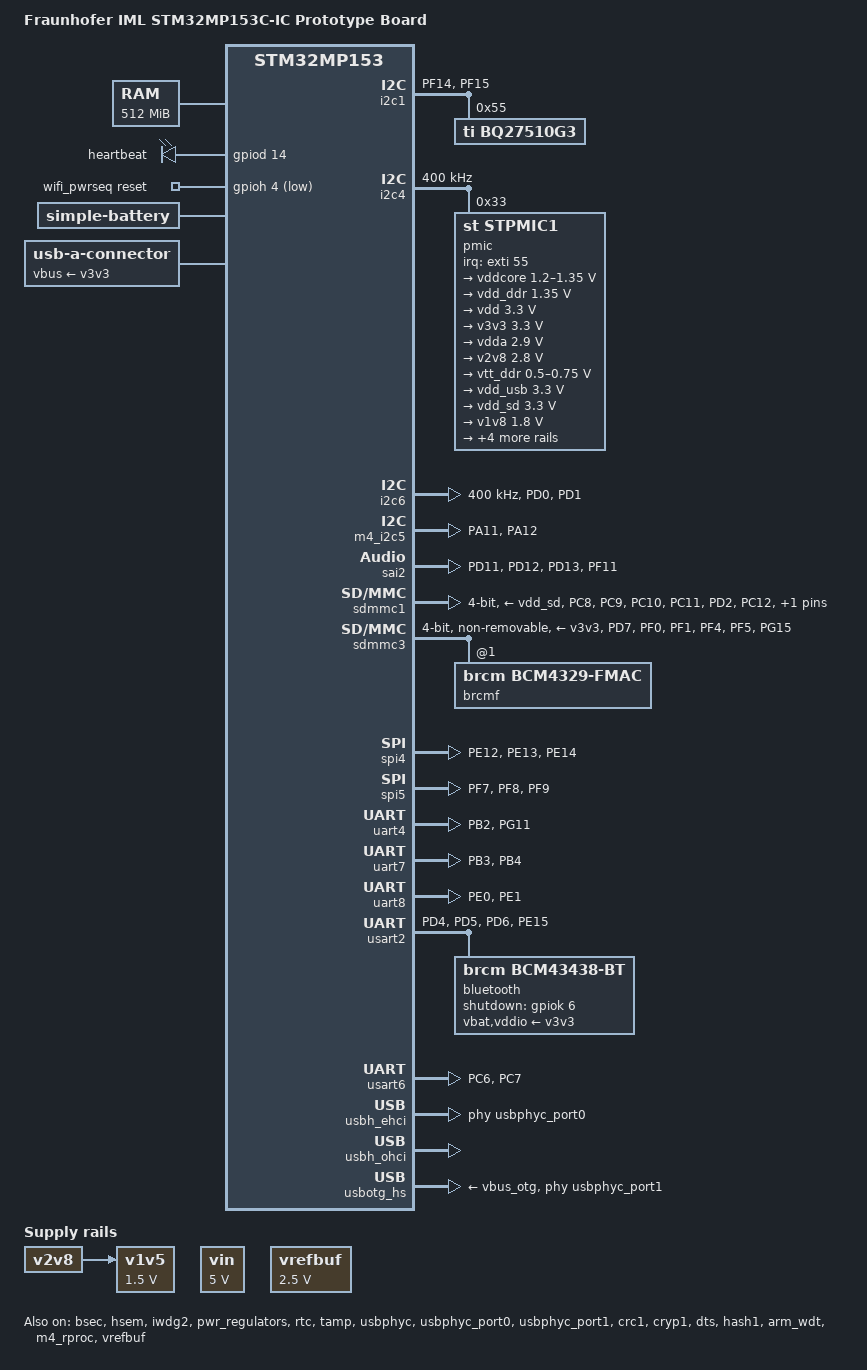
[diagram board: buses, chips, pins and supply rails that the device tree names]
/* SPDX-License-Identifier: (GPL-2.0+ OR BSD-3-Clause) */
/*
 * Copyright (C) STMicroelectronics 2023 - All Rights Reserved
 * Author: STM32CubeMX code generation for STMicroelectronics.
 */

/* For more information on Device Tree configuration, please refer to
 * https://wiki.st.com/stm32mpu/wiki/Category:Device_tree_configuration
 */

/dts-v1/;
#include <dt-bindings/pinctrl/stm32-pinfunc.h>

#include "stm32mp153.dtsi"
#include "stm32mp15xc.dtsi"
#include "stm32mp15xxaa-pinctrl.dtsi"
#include "stm32mp15-m4-srm.dtsi"

/* USER CODE BEGIN includes */
#include "stm32mp153c-ic-scmi.dtsi"
#include "stm32mp15-pinctrl.dtsi"
#include "stm32mp15-m4-srm-pinctrl.dtsi"
#include <dt-bindings/gpio/gpio.h>
#include <dt-bindings/input/input.h>
#include <dt-bindings/mfd/st,stpmic1.h>
#include <dt-bindings/rtc/rtc-stm32.h>
/* USER CODE END includes */


/ {
	model = "Fraunhofer IML STM32MP153C-IC Prototype Board";
	compatible = "st,stm32mp153c-ic", "st,stm32mp153";

	memory@c0000000 {
		device_type = "memory";
		reg = <0xc0000000 0x20000000>;

		/* USER CODE BEGIN memory */
		/* USER CODE END memory */
	};

	reserved-memory {
		#address-cells = <1>;
		#size-cells = <1>;
		ranges;

		/* USER CODE BEGIN reserved-memory */
		mcuram2: mcuram2@10000000 {
			compatible = "shared-dma-pool";
			reg = <0x10000000 0x40000>;
			no-map;
		};

		vdev0vring0: vdev0vring0@10040000 {
			compatible = "shared-dma-pool";
			reg = <0x10040000 0x1000>;
			no-map;
		};

		vdev0vring1: vdev0vring1@10041000 {
			compatible = "shared-dma-pool";
			reg = <0x10041000 0x1000>;
			no-map;
		};

		vdev0buffer: vdev0buffer@10042000 {
			compatible = "shared-dma-pool";
			reg = <0x10042000 0x4000>;
			no-map;
		};

		mcu_rsc_table: mcu_rsc_table@10048000 {
			compatible = "shared-dma-pool";
			reg = <0x10048000 0x8000>;
			no-map;
		};

		mcuram: mcuram@30000000 {
			compatible = "shared-dma-pool";
			reg = <0x30000000 0x40000>;
			no-map;
		};

		retram: retram@38000000 {
			compatible = "shared-dma-pool";
			reg = <0x38000000 0x10000>;
			no-map;
		};

		optee@fe000000 {
			reg = <0xfe000000 0x2000000>;
			no-map;
		};
		/* USER CODE END reserved-memory */
	};

	/* USER CODE BEGIN root */
	chosen {
		stdout-path = "serial0:115200n8";
	};
	
	aliases {
		serial0 = &uart4;
		serial1 = &usart6;
		serial7 = &uart7;
	};

	led {
		compatible = "gpio-leds";
		green {
			label = "heartbeat";
			gpios = <&gpiod 14 GPIO_ACTIVE_HIGH>;
			linux,default-trigger = "heartbeat";
			default-state = "off";
		};
	};

	vin: vin {
		compatible = "regulator-fixed";
		regulator-name = "vin";
		regulator-min-microvolt = <5000000>;
		regulator-max-microvolt = <5000000>;
		regulator-always-on;
	};

	wifi_pwrseq: wifi-pwrseq {
		compatible = "mmc-pwrseq-simple";
		reset-gpios = <&gpioh 4 GPIO_ACTIVE_LOW>;
	};

	usb_phy_tuning: usb-phy-tuning {
		st,hs-dc-level = <2>;
		st,fs-rftime-tuning;
		st,hs-rftime-reduction;
		st,hs-current-trim = <15>;
		st,hs-impedance-trim = <1>;
		st,squelch-level = <3>;
		st,hs-rx-offset = <2>;
		st,no-lsfs-sc;
	};

	v1v5: fixedregulator@0 {
		reg = <0>;
		compatible = "regulator-fixed";
		regulator-name = "v1v5";
		regulator-min-microvolt = <1500000>;
		regulator-max-microvolt = <1500000>;
		vin-supply = <&v2v8>;
	};

	bat: battery {
		compatible = "simple-battery";
		voltage-min-design-microvolt = <3200000>;
		energy-full-design-microwatt-hours = <48600000>;
		charge-full-design-microamp-hours = <12800000>;
	};
	/* USER CODE END root */

	clocks {

		/* USER CODE BEGIN clocks */
		clk_lsi: clk-lsi {
			clock-frequency = <32000>;
		};

		clk_hsi: clk-hsi {
			clock-frequency = <64000000>;
		};

		clk_csi: clk-csi {
			clock-frequency = <4000000>;
		};

		clk_lse: clk-lse {
			clock-frequency = <32768>;
			st,css;
		};

		clk_hse: clk-hse {
			clock-frequency = <24000000>;
			st,css;
		};
		/* USER CODE END clocks */
	};
};

&pinctrl {

	i2c1_pins_mx: i2c1_mx-0 {
		pins {
			pinmux = <STM32_PINMUX('F', 14, AF5)>, /* I2C1_SCL */
					 <STM32_PINMUX('F', 15, AF5)>; /* I2C1_SDA */
			bias-disable;
			drive-open-drain;
			slew-rate = <0>;
		};
	};

	i2c1_sleep_pins_mx: i2c1_sleep_mx-0 {
		pins {
			pinmux = <STM32_PINMUX('F', 14, ANALOG)>, /* I2C1_SCL */
					 <STM32_PINMUX('F', 15, ANALOG)>; /* I2C1_SDA */
		};
	};

	i2c6_pins_mx: i2c6_mx-0 {
		pins {
			pinmux = <STM32_PINMUX('D', 0, AF2)>, /* I2C6_SDA */
					 <STM32_PINMUX('D', 1, AF2)>; /* I2C6_SCL */
			bias-disable;
			drive-open-drain;
			slew-rate = <0>;
		};
	};

	i2c6_sleep_pins_mx: i2c6_sleep_mx-0 {
		pins {
			pinmux = <STM32_PINMUX('D', 0, ANALOG)>, /* I2C6_SDA */
					 <STM32_PINMUX('D', 1, ANALOG)>; /* I2C6_SCL */
		};
	};

	m4_i2c5_pins_mx: m4_i2c5_mx-0 {
		pins {
			pinmux = <STM32_PINMUX('A', 11, RSVD)>, /* I2C5_SCL */
					 <STM32_PINMUX('A', 12, RSVD)>; /* I2C5_SDA */
		};
	};

	rtc_pins_mx: rtc_mx-0 {
		pins {
			pinmux = <STM32_PINMUX('I', 8, ANALOG)>; /* RTC_LSCO */
		};
	};

	rtc_sleep_pins_mx: rtc_sleep_mx-0 {
		pins {
			pinmux = <STM32_PINMUX('I', 8, ANALOG)>; /* RTC_LSCO */
		};
	};

	sai2a_pins_mx: sai2a_mx-0 {
		pins {
			pinmux = <STM32_PINMUX('D', 11, AF10)>, /* SAI2_SD_A */
					 <STM32_PINMUX('D', 12, AF10)>, /* SAI2_FS_A */
					 <STM32_PINMUX('D', 13, AF10)>; /* SAI2_SCK_A */
			bias-disable;
			drive-push-pull;
			slew-rate = <0>;
		};
	};

	sai2a_sleep_pins_mx: sai2a_sleep_mx-0 {
		pins {
			pinmux = <STM32_PINMUX('D', 11, ANALOG)>, /* SAI2_SD_A */
					 <STM32_PINMUX('D', 12, ANALOG)>, /* SAI2_FS_A */
					 <STM32_PINMUX('D', 13, ANALOG)>; /* SAI2_SCK_A */
		};
	};

	sai2b_pins_mx: sai2b_mx-0 {
		pins {
			pinmux = <STM32_PINMUX('F', 11, AF10)>; /* SAI2_SD_B */
			bias-disable;
			drive-push-pull;
			slew-rate = <0>;
		};
	};

	sai2b_sleep_pins_mx: sai2b_sleep_mx-0 {
		pins {
			pinmux = <STM32_PINMUX('F', 11, ANALOG)>; /* SAI2_SD_B */
		};
	};

	sdmmc1_pins_mx: sdmmc1_mx-0 {
		pins1 {
			pinmux = <STM32_PINMUX('C', 8, AF12)>, /* SDMMC1_D0 */
					 <STM32_PINMUX('C', 9, AF12)>, /* SDMMC1_D1 */
					 <STM32_PINMUX('C', 10, AF12)>, /* SDMMC1_D2 */
					 <STM32_PINMUX('C', 11, AF12)>, /* SDMMC1_D3 */
					 <STM32_PINMUX('D', 2, AF12)>; /* SDMMC1_CMD */
			bias-disable;
			drive-push-pull;
			slew-rate = <1>;
		};
		pins2 {
			pinmux = <STM32_PINMUX('C', 12, AF12)>; /* SDMMC1_CK */
			bias-disable;
			drive-push-pull;
			slew-rate = <3>;
		};
	};

	sdmmc1_opendrain_pins_mx: sdmmc1_opendrain_mx-0 {
		pins1 {
			pinmux = <STM32_PINMUX('C', 8, AF12)>, /* SDMMC1_D0 */
					 <STM32_PINMUX('C', 9, AF12)>, /* SDMMC1_D1 */
					 <STM32_PINMUX('C', 10, AF12)>, /* SDMMC1_D2 */
					 <STM32_PINMUX('C', 11, AF12)>; /* SDMMC1_D3 */
			bias-disable;
			drive-push-pull;
			slew-rate = <1>;
		};
		pins2 {
			pinmux = <STM32_PINMUX('C', 12, AF12)>; /* SDMMC1_CK */
			bias-disable;
			drive-push-pull;
			slew-rate = <3>;
		};
		pins3 {
			pinmux = <STM32_PINMUX('D', 2, AF12)>; /* SDMMC1_CMD */
			bias-disable;
			drive-open-drain;
			slew-rate = <1>;
		};
	};

	sdmmc1_sleep_pins_mx: sdmmc1_sleep_mx-0 {
		pins {
			pinmux = <STM32_PINMUX('C', 8, ANALOG)>, /* SDMMC1_D0 */
					 <STM32_PINMUX('C', 9, ANALOG)>, /* SDMMC1_D1 */
					 <STM32_PINMUX('C', 10, ANALOG)>, /* SDMMC1_D2 */
					 <STM32_PINMUX('C', 11, ANALOG)>, /* SDMMC1_D3 */
					 <STM32_PINMUX('C', 12, ANALOG)>, /* SDMMC1_CK */
					 <STM32_PINMUX('D', 2, ANALOG)>; /* SDMMC1_CMD */
		};
	};

	sdmmc3_pins_mx: sdmmc3_mx-0 {
		pins1 {
			pinmux = <STM32_PINMUX('D', 7, AF10)>, /* SDMMC3_D3 */
					 <STM32_PINMUX('F', 0, AF9)>, /* SDMMC3_D0 */
					 <STM32_PINMUX('F', 1, AF9)>, /* SDMMC3_CMD */
					 <STM32_PINMUX('F', 4, AF9)>, /* SDMMC3_D1 */
					 <STM32_PINMUX('F', 5, AF9)>; /* SDMMC3_D2 */
			bias-pull-up;
			drive-push-pull; // changed manually
			slew-rate = <1>;
		};
		pins2 {
			pinmux = <STM32_PINMUX('G', 15, AF10)>; /* SDMMC3_CK */
			bias-pull-up;
			drive-push-pull; // changed manually
			slew-rate = <2>; // changed manually
		};
	};

	sdmmc3_opendrain_pins_mx: sdmmc3_opendrain_mx-0 {
		pins1 {
			pinmux = <STM32_PINMUX('D', 7, AF10)>, /* SDMMC3_D3 */
					 <STM32_PINMUX('F', 0, AF9)>, /* SDMMC3_D0 */
					 <STM32_PINMUX('F', 4, AF9)>, /* SDMMC3_D1 */
					 <STM32_PINMUX('F', 5, AF9)>; /* SDMMC3_D2 */
			bias-pull-up; // changed manually
			drive-push-pull;
			slew-rate = <1>;
		};
		pins2 {
			pinmux = <STM32_PINMUX('F', 1, AF9)>; /* SDMMC3_CMD */
			bias-pull-up; // changed manually
			drive-open-drain;
			slew-rate = <1>;
		};
		pins3 {
			pinmux = <STM32_PINMUX('G', 15, AF10)>; /* SDMMC3_CK */
			bias-pull-up; // changed manually
			drive-push-pull;
			slew-rate = <2>; // changed manually
		};
	};

	sdmmc3_sleep_pins_mx: sdmmc3_sleep_mx-0 {
		pins {
			pinmux = <STM32_PINMUX('D', 7, ANALOG)>, /* SDMMC3_D3 */
					 <STM32_PINMUX('F', 0, ANALOG)>, /* SDMMC3_D0 */
					 <STM32_PINMUX('F', 1, ANALOG)>, /* SDMMC3_CMD */
					 <STM32_PINMUX('F', 4, ANALOG)>, /* SDMMC3_D1 */
					 <STM32_PINMUX('F', 5, ANALOG)>, /* SDMMC3_D2 */
					 <STM32_PINMUX('G', 15, ANALOG)>; /* SDMMC3_CK */
		};
	};

	spi4_pins_mx: spi4_mx-0 {
		pins {
			pinmux = <STM32_PINMUX('E', 12, AF5)>, /* SPI4_SCK */
					 <STM32_PINMUX('E', 13, AF5)>, /* SPI4_MISO */
					 <STM32_PINMUX('E', 14, AF5)>; /* SPI4_MOSI */
			bias-disable;
			drive-push-pull;
			slew-rate = <1>;
		};
	};

	spi4_sleep_pins_mx: spi4_sleep_mx-0 {
		pins {
			pinmux = <STM32_PINMUX('E', 12, ANALOG)>, /* SPI4_SCK */
					 <STM32_PINMUX('E', 13, ANALOG)>, /* SPI4_MISO */
					 <STM32_PINMUX('E', 14, ANALOG)>; /* SPI4_MOSI */
		};
	};

	spi5_pins_mx: spi5_mx-0 {
		pins {
			pinmux = <STM32_PINMUX('F', 7, AF5)>, /* SPI5_SCK */
					 <STM32_PINMUX('F', 8, AF5)>, /* SPI5_MISO */
					 <STM32_PINMUX('F', 9, AF5)>; /* SPI5_MOSI */
			bias-disable;
			drive-push-pull;
			slew-rate = <1>;
		};
	};

	spi5_sleep_pins_mx: spi5_sleep_mx-0 {
		pins {
			pinmux = <STM32_PINMUX('F', 7, ANALOG)>, /* SPI5_SCK */
					 <STM32_PINMUX('F', 8, ANALOG)>, /* SPI5_MISO */
					 <STM32_PINMUX('F', 9, ANALOG)>; /* SPI5_MOSI */
		};
	};

	uart4_pins_mx: uart4_mx-0 {
		pins1 {
			pinmux = <STM32_PINMUX('B', 2, AF8)>; /* UART4_RX */
			bias-disable;
		};
		pins2 {
			pinmux = <STM32_PINMUX('G', 11, AF6)>; /* UART4_TX */
			bias-disable;
			drive-push-pull;
			slew-rate = <0>;
		};
	};

	uart4_sleep_pins_mx: uart4_sleep_mx-0 {
		pins {
			pinmux = <STM32_PINMUX('B', 2, ANALOG)>, /* UART4_RX */
					 <STM32_PINMUX('G', 11, ANALOG)>; /* UART4_TX */
		};
	};

	uart7_pins_mx: uart7_mx-0 {
		pins1 {
			pinmux = <STM32_PINMUX('B', 3, AF13)>; /* UART7_RX */
			bias-disable;
		};
		pins2 {
			pinmux = <STM32_PINMUX('B', 4, AF13)>; /* UART7_TX */
			bias-disable;
			drive-push-pull;
			slew-rate = <0>;
		};
	};

	uart7_sleep_pins_mx: uart7_sleep_mx-0 {
		pins {
			pinmux = <STM32_PINMUX('B', 3, ANALOG)>, /* UART7_RX */
					 <STM32_PINMUX('B', 4, ANALOG)>; /* UART7_TX */
		};
	};

	uart8_pins_mx: uart8_mx-0 {
		pins1 {
			pinmux = <STM32_PINMUX('E', 0, AF8)>; /* UART8_RX */
			bias-disable;
		};
		pins2 {
			pinmux = <STM32_PINMUX('E', 1, AF8)>; /* UART8_TX */
			bias-disable;
			drive-push-pull;
			slew-rate = <0>;
		};
	};

	uart8_sleep_pins_mx: uart8_sleep_mx-0 {
		pins {
			pinmux = <STM32_PINMUX('E', 0, ANALOG)>, /* UART8_RX */
					 <STM32_PINMUX('E', 1, ANALOG)>; /* UART8_TX */
		};
	};

	usart2_pins_mx: usart2_mx-0 {
		pins1 {
			pinmux = <STM32_PINMUX('D', 4, AF7)>, /* USART2_RTS */
					 <STM32_PINMUX('D', 5, AF7)>; /* USART2_TX */
			bias-disable;
			drive-push-pull;
			slew-rate = <0>;
		};
		pins2 {
			pinmux = <STM32_PINMUX('D', 6, AF7)>, /* USART2_RX */
					 <STM32_PINMUX('E', 15, AF7)>; /* USART2_CTS */
			bias-disable;
		};
	};

	usart2_sleep_pins_mx: usart2_sleep_mx-0 {
		pins {
			pinmux = <STM32_PINMUX('D', 4, ANALOG)>, /* USART2_RTS */
					 <STM32_PINMUX('D', 5, ANALOG)>, /* USART2_TX */
					 <STM32_PINMUX('D', 6, ANALOG)>, /* USART2_RX */
					 <STM32_PINMUX('E', 15, ANALOG)>; /* USART2_CTS */
		};
	};

	usart6_pins_mx: usart6_mx-0 {
		pins1 {
			pinmux = <STM32_PINMUX('C', 6, AF7)>; /* USART6_TX */
			bias-disable;
			drive-push-pull;
			slew-rate = <0>;
		};
		pins2 {
			pinmux = <STM32_PINMUX('C', 7, AF7)>; /* USART6_RX */
			bias-disable;
		};
	};

	usart6_sleep_pins_mx: usart6_sleep_mx-0 {
		pins {
			pinmux = <STM32_PINMUX('C', 6, ANALOG)>, /* USART6_TX */
					 <STM32_PINMUX('C', 7, ANALOG)>; /* USART6_RX */
		};
	};

	/* USER CODE BEGIN pinctrl */
	/* USER CODE END pinctrl */
};

&pinctrl_z {

	i2c4_pins_z_mx: i2c4_mx-0 {
		pins {
			pinmux = <STM32_PINMUX('Z', 4, AF6)>, /* I2C4_SCL */
					 <STM32_PINMUX('Z', 5, AF6)>; /* I2C4_SDA */
			bias-disable;
			drive-open-drain;
			slew-rate = <0>;
		};
	};

	i2c4_sleep_pins_z_mx: i2c4_sleep_mx-0 {
		pins {
			pinmux = <STM32_PINMUX('Z', 4, ANALOG)>, /* I2C4_SCL */
					 <STM32_PINMUX('Z', 5, ANALOG)>; /* I2C4_SDA */
		};
	};

	/* USER CODE BEGIN pinctrl_z */
	/* USER CODE END pinctrl_z */
};

&bsec{
	status = "okay";

	/* USER CODE BEGIN bsec */
	/* USER CODE END bsec */
};

&dma1{
	status = "okay";

	/* USER CODE BEGIN dma1 */
	sram = <&dma_pool>;
	/* USER CODE END dma1 */
};

&dma2{
	status = "disabled";

	/* USER CODE BEGIN dma2 */
	/* USER CODE END dma2 */
};

&dmamux1{
	status = "okay";

	dma-masters = <&dma1>;
	dma-channels = <8>;

	/* USER CODE BEGIN dmamux1 */
	/* USER CODE END dmamux1 */
};

&hsem{
	status = "okay";

	/* USER CODE BEGIN hsem */
	/* USER CODE END hsem */
};

&i2c1{
	pinctrl-names = "default", "sleep";
	pinctrl-0 = <&i2c1_pins_mx>;
	pinctrl-1 = <&i2c1_sleep_pins_mx>;
	status = "okay";

	/* USER CODE BEGIN i2c1 */
	/delete-property/dmas;
	/delete-property/dma-names;

	bq27510g3: fuel-gauge@55 {
		compatible = "ti,bq27510g3";
		reg = <0x55>;
		monitored-battery = <&bat>;
	};
	/* USER CODE END i2c1 */
};

&i2c4{
	pinctrl-names = "default", "sleep";
	pinctrl-0 = <&i2c4_pins_z_mx>;
	pinctrl-1 = <&i2c4_sleep_pins_z_mx>;
	status = "okay";

	/* USER CODE BEGIN i2c4 */
	i2c-scl-rising-time-ns = <185>;
	i2c-scl-falling-time-ns = <20>;
	clock-frequency = <400000>;
	/* spare dmas for other usage */
	/delete-property/dmas;
	/delete-property/dma-names;

	pmic: stpmic@33 {
		compatible = "st,stpmic1";
		reg = <0x33>;
		interrupts-extended = <&exti 55 IRQ_TYPE_EDGE_FALLING>;
		interrupt-controller;
		#interrupt-cells = <2>;
		status = "okay";

		regulators {
			compatible = "st,stpmic1-regulators";
			buck1-supply = <&vin>;
			buck2-supply = <&vin>;
			buck3-supply = <&vin>;
			buck4-supply = <&vin>;
			ldo1-supply = <&v3v3>;
			ldo2-supply = <&vin>;
			ldo3-supply = <&vdd_ddr>;
			ldo4-supply = <&vin>;
			ldo5-supply = <&vin>;
			ldo6-supply = <&v3v3>;
			vref_ddr-supply = <&vin>;
			boost-supply = <&vin>;
			pwr_sw1-supply = <&bst_out>;
			pwr_sw2-supply = <&bst_out>;

			vddcore: buck1 {
				regulator-name = "vddcore";
				regulator-min-microvolt = <1200000>;
				regulator-max-microvolt = <1350000>;
				regulator-always-on;
				regulator-initial-mode = <0>;
				regulator-over-current-protection;
			};

			vdd_ddr: buck2 {
				regulator-name = "vdd_ddr";
				regulator-min-microvolt = <1350000>;
				regulator-max-microvolt = <1350000>;
				regulator-always-on;
				regulator-initial-mode = <0>;
				regulator-over-current-protection;
			};

			vdd: buck3 {
				regulator-name = "vdd";
				regulator-min-microvolt = <3300000>;
				regulator-max-microvolt = <3300000>;
				regulator-always-on;
				st,mask-reset;
				regulator-initial-mode = <0>;
				regulator-over-current-protection;
			};

			v3v3: buck4 {
				regulator-name = "v3v3";
				regulator-min-microvolt = <3300000>;
				regulator-max-microvolt = <3300000>;
				regulator-always-on;
				regulator-over-current-protection;
				regulator-initial-mode = <0>;
			};

			vdda: ldo1 {
				regulator-name = "vdda";
				regulator-min-microvolt = <2900000>;
				regulator-max-microvolt = <2900000>;
				regulator-always-on;
				interrupts = <IT_CURLIM_LDO1 0>;
			};

			v2v8: ldo2 {
				regulator-name = "v2v8";
				regulator-min-microvolt = <2800000>;
				regulator-max-microvolt = <2800000>;
				regulator-always-on;
				interrupts = <IT_CURLIM_LDO2 0>;
			};

			vtt_ddr: ldo3 {
				regulator-name = "vtt_ddr";
				regulator-min-microvolt = <500000>;
				regulator-max-microvolt = <750000>;
				regulator-always-on;
				regulator-over-current-protection;
			};

			vdd_usb: ldo4 {
				regulator-name = "vdd_usb";
				regulator-min-microvolt = <3300000>;
				regulator-max-microvolt = <3300000>;
				interrupts = <IT_CURLIM_LDO4 0>;
			};

			vdd_sd: ldo5 {
				regulator-name = "vdd_sd";
				regulator-min-microvolt = <3300000>;
				regulator-max-microvolt = <3300000>;
				interrupts = <IT_CURLIM_LDO5 0>;
				regulator-boot-on;
			};

			v1v8: ldo6 {
				regulator-name = "v1v8";
				regulator-min-microvolt = <1800000>;
				regulator-max-microvolt = <1800000>;
				regulator-always-on;
				interrupts = <IT_CURLIM_LDO6 0>;
				regulator-enable-ramp-delay = <300000>;
			};

			vref_ddr: vref_ddr {
				regulator-name = "vref_ddr";
				regulator-always-on;
				regulator-over-current-protection;
			};

			bst_out: boost {
				regulator-name = "bst_out";
				interrupts = <IT_OCP_BOOST 0>;
			};

			vbus_otg: pwr_sw1 {
				regulator-name = "vbus_otg";
				interrupts = <IT_OCP_OTG 0>;
			};

			vbus_sw: pwr_sw2 {
				regulator-name = "vbus_sw";
				interrupts = <IT_OCP_SWOUT 0>;
				regulator-active-discharge = <1>;
			};
		};

		onkey {
			compatible = "st,stpmic1-onkey";
			interrupts = <IT_PONKEY_F 0>, <IT_PONKEY_R 0>;
			interrupt-names = "onkey-falling", "onkey-rising";
			power-off-time-sec = <10>;
			status = "okay";
		};

		watchdog {
			compatible = "st,stpmic1-wdt";
			status = "disabled";
		};
	};
	/* USER CODE END i2c4 */
};

&i2c6{
	pinctrl-names = "default", "sleep";
	pinctrl-0 = <&i2c6_pins_mx>;
	pinctrl-1 = <&i2c6_sleep_pins_mx>;
	status = "okay";

	/* USER CODE BEGIN i2c6 */
	i2c-scl-rising-time-ns = <185>;
	i2c-scl-falling-time-ns = <20>;
	clock-frequency = <400000>;
	/delete-property/dmas;
	/delete-property/dma-names;
	/* USER CODE END i2c6 */
};

&ipcc{
	status = "okay";

	/* USER CODE BEGIN ipcc */
	/* USER CODE END ipcc */
};

&iwdg2{
	status = "okay";

	/* USER CODE BEGIN iwdg2 */
	timeout-sec = <32>;
	/* USER CODE END iwdg2 */
};

&m4_dma2{
	status = "okay";

	/* USER CODE BEGIN m4_dma2 */
	/* USER CODE END m4_dma2 */
};

&m4_i2c5{
	pinctrl-names = "default";
	pinctrl-0 = <&m4_i2c5_pins_mx>;
	status = "okay";

	/* USER CODE BEGIN m4_i2c5 */
	/* USER CODE END m4_i2c5 */
};

&mdma1{
	status = "okay";

	/* USER CODE BEGIN mdma1 */
	/* USER CODE END mdma1 */
};

&pwr_regulators{
	status = "okay";

	/* USER CODE BEGIN pwr_regulators */
	vdd-supply = <&vdd>;
	vdd_3v3_usbfs-supply = <&vdd_usb>;
	/* USER CODE END pwr_regulators */
};

&rcc{
	status = "okay";

	/* USER CODE BEGIN rcc */
	/* USER CODE END rcc */
};

&rtc{
	pinctrl-names = "default", "sleep";
	pinctrl-0 = <&rtc_pins_mx>;
	pinctrl-1 = <&rtc_sleep_pins_mx>;
	status = "okay";

	/* USER CODE BEGIN rtc */
	st,lsco = <RTC_OUT2_RMP>;
	/* USER CODE END rtc */
};

&sai2{
	pinctrl-names = "default", "sleep";
	pinctrl-0 = <&sai2a_pins_mx>, <&sai2b_pins_mx>;
	pinctrl-1 = <&sai2a_sleep_pins_mx>, <&sai2b_sleep_pins_mx>;
	status = "okay";

	/* USER CODE BEGIN sai2 */
	/* USER CODE END sai2 */

	sai2a:audio-controller@4400b004{
		status = "okay";

		/* USER CODE BEGIN sai2a */
		/* USER CODE END sai2a */
	};

	sai2b:audio-controller@4400b024{
		status = "okay";

		/* USER CODE BEGIN sai2b */
		/* USER CODE END sai2b */
	};
};

&sdmmc1{
	pinctrl-names = "default", "opendrain", "sleep";
	pinctrl-0 = <&sdmmc1_pins_mx>;
	pinctrl-1 = <&sdmmc1_opendrain_pins_mx>;
	pinctrl-2 = <&sdmmc1_sleep_pins_mx>;
	status = "okay";

	/* USER CODE BEGIN sdmmc1 */
	cd-gpios = <&gpiog 1 (GPIO_ACTIVE_LOW | GPIO_PULL_UP)>;
	disable-wp;
	st,neg-edge;
	bus-width = <4>;
	vmmc-supply = <&vdd_sd>;
	sd-uhs-sdr12;
	sd-uhs-sdr25;
	sd-uhs-sdr50;
	sd-uhs-ddr50;
	/* USER CODE END sdmmc1 */
};

&sdmmc3{
	pinctrl-names = "default", "opendrain", "sleep";
	pinctrl-0 = <&sdmmc3_pins_mx>;
	pinctrl-1 = <&sdmmc3_opendrain_pins_mx>;
	pinctrl-2 = <&sdmmc3_sleep_pins_mx>;
	status = "okay";

	/* USER CODE BEGIN sdmmc3 */
	non-removable;
	st,neg-edge;
	bus-width = <4>;
	vmmc-supply = <&v3v3>;
	mmc-pwrseq = <&wifi_pwrseq>;
	#address-cells = <1>;
	#size-cells = <0>;
	keep-power-in-suspend;
	arm,primecell-periphid = <0x10153180>;

	brcmf: bcrmf@1 {
		reg = <1>;
		compatible = "brcm,bcm4329-fmac";
	};
	/* USER CODE END sdmmc3 */
};

&spi4{
	pinctrl-names = "default", "sleep";
	pinctrl-0 = <&spi4_pins_mx>;
	pinctrl-1 = <&spi4_sleep_pins_mx>;
	status = "okay";

	/* USER CODE BEGIN spi4 */
	/* USER CODE END spi4 */
};

&spi5{
	pinctrl-names = "default", "sleep";
	pinctrl-0 = <&spi5_pins_mx>;
	pinctrl-1 = <&spi5_sleep_pins_mx>;
	status = "okay";

	/* USER CODE BEGIN spi5 */
	/* USER CODE END spi5 */
};

&tamp{
	status = "okay";

	/* USER CODE BEGIN tamp */
	/* USER CODE END tamp */
};

&uart4{
	/* "idle" added manually */
	pinctrl-names = "default", "sleep", "idle";
	pinctrl-0 = <&uart4_pins_mx>;
	pinctrl-1 = <&uart4_sleep_pins_mx>;
	status = "okay";

	/* USER CODE BEGIN uart4 */
	pinctrl-2 = <&uart4_idle_pins_a>; /* Pins G11 and B2, see https://elixir.bootlin.com/u-boot/v2023.07.02/source/arch/arm/dts/stm32mp15-pinctrl.dtsi#L1931 */
	/delete-property/dmas;
	/delete-property/dma-names;
	/* USER CODE END uart4 */
};

&uart7{
	pinctrl-names = "default", "sleep";
	pinctrl-0 = <&uart7_pins_mx>;
	pinctrl-1 = <&uart7_sleep_pins_mx>;
	status = "okay";

	/* USER CODE BEGIN uart7 */
	/* USER CODE END uart7 */
};

&uart8{
	pinctrl-names = "default", "sleep";
	pinctrl-0 = <&uart8_pins_mx>;
	pinctrl-1 = <&uart8_sleep_pins_mx>;
	status = "okay";

	/* USER CODE BEGIN uart8 */
	/* USER CODE END uart8 */
};

&usart2{
	pinctrl-names = "default", "sleep";
	pinctrl-0 = <&usart2_pins_mx>;
	pinctrl-1 = <&usart2_sleep_pins_mx>;
	status = "okay";

	/* USER CODE BEGIN usart2 */
	uart-has-rtscts;
	bluetooth {
		shutdown-gpios = <&gpiok 6 GPIO_ACTIVE_HIGH>;
		/*host-wakeup-gpios = <&gpioh 5 GPIO_ACTIVE_HIGH>;
		device-wakeup-gpios = <&gpioz 7 GPIO_ACTIVE_HIGH>;*/
		compatible = "brcm,bcm43438-bt";
		max-speed = <3000000>;
		vbat-supply = <&v3v3>;
		vddio-supply = <&v3v3>;
		status = "okay";
	};
	/* USER CODE END usart2 */
};

&usart6{
	pinctrl-names = "default", "sleep";
	pinctrl-0 = <&usart6_pins_mx>;
	pinctrl-1 = <&usart6_sleep_pins_mx>;
	status = "okay";

	/* USER CODE BEGIN usart6 */
	/* USER CODE END usart6 */
};

&usbh_ehci{
	status = "okay";

	/* USER CODE BEGIN usbh_ehci */
	phys = <&usbphyc_port0>;
	/* USER CODE END usbh_ehci */
};

&usbh_ohci{
	status = "okay";

	/* USER CODE BEGIN usbh_ohci */
	/* USER CODE END usbh_ohci */
};

&usbotg_hs{
	status = "okay";

	/* USER CODE BEGIN usbotg_hs */
	pinctrl-0 = <&usbotg_hs_pins_a>; /* Sets OTG_ID to ANALOG, see https://elixir.bootlin.com/u-boot/v2023.07.02/source/arch/arm/dts/stm32mp15-pinctrl.dtsi#L2357 */
	pinctrl-names = "default";
	phys = <&usbphyc_port1 0>;
	phy-names = "usb2-phy";
	vbus-supply = <&vbus_otg>;
	/* USER CODE END usbotg_hs */
};

&usbphyc{
	status = "okay";

	/* USER CODE BEGIN usbphyc */
	/* USER CODE END usbphyc */
};

&usbphyc_port0{
	status = "okay";

	/* USER CODE BEGIN usbphyc_port0 */
	st,tune-hs-dc-level = <2>;
	st,enable-fs-rftime-tuning;
	st,enable-hs-rftime-reduction;
	st,trim-hs-current = <15>;
	st,trim-hs-impedance = <1>;
	st,tune-squelch-level = <3>;
	st,tune-hs-rx-offset = <2>;
	st,no-lsfs-sc;
	phy-supply = <&vdd_usb>;

	/*
	 * Hack to keep hub active until all connected devices are suspended
	 * otherwise the hub will be powered off as soon as the v3v3 is disabled
	 * and it can disturb connected devices.
	 */
	connector {
		compatible = "usb-a-connector";
		vbus-supply = <&v3v3>;
	};
	/* USER CODE END usbphyc_port0 */
};

&usbphyc_port1{
	status = "okay";

	/* USER CODE BEGIN usbphyc_port1 */
	st,tune-hs-dc-level = <2>;
	st,enable-fs-rftime-tuning;
	st,enable-hs-rftime-reduction;
	st,trim-hs-current = <15>;
	st,trim-hs-impedance = <1>;
	st,tune-squelch-level = <3>;
	st,tune-hs-rx-offset = <2>;
	st,no-lsfs-sc;
	phy-supply = <&vdd_usb>;
	/* USER CODE END usbphyc_port1 */
};

/* USER CODE BEGIN addons */

&cpu0{
	cpu-supply = <&vddcore>;
	clock-frequency = <650000000>;
};

&cpu1{
	cpu-supply = <&vddcore>;
	clock-frequency = <650000000>;
};

&crc1 {
	status = "okay";
};

&cryp1{
	status = "okay";
};

&dts {
	status = "okay";
};

&hash1 {
	status = "okay";
};

&arm_wdt {
        timeout-sec = <32>;
        status = "okay";
};

/* Unchanged from imlcore */
&m4_rproc {
	memory-region = <&retram>, <&mcuram>, <&mcuram2>, <&vdev0vring0>,
			<&vdev0vring1>, <&vdev0buffer>, <&mcu_rsc_table>;
	mboxes = <&ipcc 0>, <&ipcc 1>, <&ipcc 2>, <&ipcc 3>;
	mbox-names = "vq0", "vq1", "shutdown", "detach";
	interrupt-parent = <&exti>;
	interrupts = <68 1>;
	wakeup-source;
	status = "okay";

	m4_system_resources{
		status = "okay";
	};
};

&sram4 {
	dma_pool: dma_pool@0 {
		reg = <0x00000 0x10000>;
		pool;
	};
};

&vrefbuf {
	regulator-min-microvolt = <2500000>;
	regulator-max-microvolt = <2500000>;
	vdda-supply = <&vdd>;
	status = "okay";
};
/* USER CODE END addons */
